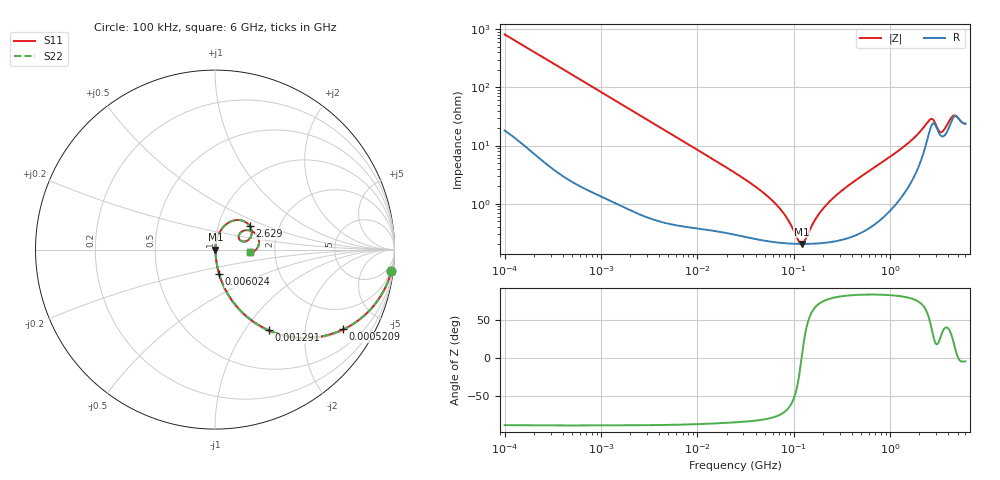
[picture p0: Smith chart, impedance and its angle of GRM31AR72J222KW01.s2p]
!Murata Part Number: GRM31AR72J222KW01
!These Parameters are Measured in Series Mode Connection
!Data Generated on Mar 30, 2021
!  o--ll--o
!Port1  Port2
!  o------o
!Operation Temp=25[degC], DC Bias Voltage=0[V]
!Freq. Start=100[kHz] Stop=6[GHz] 401[Steps]
# Hz S RI R 50
!Freq.(Hz) S11(Real) S11(Imag) S21(Real) S21(Imag) S12(Real) S12(Imag) S22(Real) S22(Imag)
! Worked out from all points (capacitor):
!   401 points, 100 kHz to 6 GHz, reference 50 ohm
!   read as one part in series: C = 1.94 nF near 105.7 kHz
!   lowest |Z| = 204 mohm at 120.8 MHz (marker M1)
!   series resonance near 120.1 MHz, so ESL is about 900 pH
!   S11 on the Smith chart (normalised r, x): 100 kHz: 1, -16; 520.9 kHz: 1.05, -3.19; 1.291 MHz: 1.02, -1.29; 6.024 MHz: 1.01, -0.28; 2.629 GHz: 1.42, +0.40; 6 GHz: 1.48, -0.04
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100000  0.9826 -0.1201  0.0174 0.1201  0.0174 0.1201  0.9826 -0.1201
261871  0.905 -0.2853  0.095 0.2853  0.095 0.2853  0.905 -0.2853
520862  0.7146 -0.4445  0.2854 0.4445  0.2854 0.4445  0.7146 -0.4445
631452  0.632 -0.475  0.368 0.475  0.368 0.475  0.632 -0.475
1290982  0.2983 -0.4492  0.7017 0.4492  0.7017 0.4492  0.2983 -0.4492
2177120  0.134 -0.3313  0.866 0.3313  0.866 0.3313  0.134 -0.3313
3987316  0.047 -0.2002  0.953 0.2002  0.953 0.2002  0.047 -0.2002
6023672  0.0232 -0.1361  0.9768 0.1361  0.9768 0.1361  0.0232 -0.1361
2.517799e7  0.00396 -0.0326  0.996 0.0326  0.996 0.0326  0.00396 -0.0326
6.593397e7  0.00224 -0.00932  0.9978 0.00932  0.9978 0.00932  0.00224 -0.00932
8.216224e7  0.00212 -0.00571  0.9979 0.00571  0.9979 0.00571  0.00212 -0.00571
1.207557e8  0.00203 8.54e-05  0.998 -8.54e-05  0.998 -8.54e-05  0.00203 8.54e-05
1.546735e8  0.00206 0.00378  0.9979 -0.00378  0.9979 -0.00378  0.00206 0.00378
1.981182e8  0.00216 0.00772  0.9978 -0.00772  0.9978 -0.00772  0.00216 0.00772
2.755935e8  0.00246 0.0138  0.9975 -0.0138  0.9975 -0.0138  0.00246 0.0138
9.76689e8  0.0111 0.0616  0.9889 -0.0616  0.9889 -0.0616  0.0111 0.0616
1.889928e9  0.0551 0.1347  0.9449 -0.1347  0.9449 -0.1347  0.0551 0.1347
2.628996e9  0.1936 0.1322  0.8064 -0.1322  0.8064 -0.1322  0.1936 0.1322
3.276068e9  0.1367 0.0557  0.8633 -0.0557  0.8633 -0.0557  0.1367 0.0557
3.971646e9  0.1736 0.1083  0.8264 -0.1083  0.8264 -0.1083  0.1736 0.1083
4.557193e9  0.2424 0.0627  0.7576 -0.0627  0.7576 -0.0627  0.2424 0.0627
6e9  0.1924 -0.012  0.8076 0.012  0.8076 0.012  0.1924 -0.012
